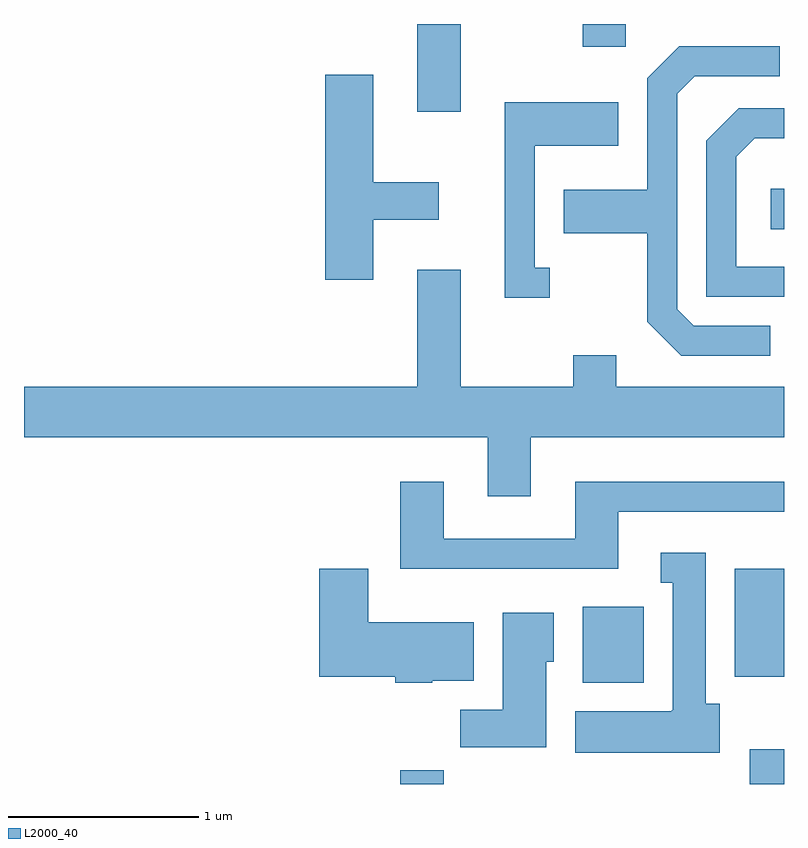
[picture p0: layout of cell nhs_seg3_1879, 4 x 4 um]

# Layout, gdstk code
import gdstk
lib = gdstk.Library(unit=1e-6, precision=1e-09)
def R(c, l, rs):  # rectangles x0, y0, x1, y1
    for r in rs: c.add(gdstk.rectangle(r[:2], r[2:], *l))
def P(c, l, *ps):  # polygons
    for p in ps: c.add(gdstk.Polygon(p, *l))
L2000_40 = (2000, 40)

nhs_seg3_1879 = lib.new_cell('nhs_seg3_1879')
R(nhs_seg3_1879, L2000_40, [(241.591,1201.892,241.819,1201.964), (243.431,1201.892,243.611,1202.074), (242.551,1202.426,242.874,1202.824), (243.351,1202.456,243.611,1203.024), (243.541,1204.811,243.611,1205.024), (241.681,1205.431,241.909,1205.892), (242.551,1205.771,242.779,1205.892)])
P(nhs_seg3_1879, L2000_40, [(243.538,1204.304),(243.137,1204.304),(243.049,1204.392),(243.049,1205.524),(243.142,1205.616),(243.588,1205.616),(243.588,1205.774),(243.059,1205.774),(242.891,1205.607),(242.891,1205.019),(242.451,1205.019),(242.451,1204.791),(242.891,1204.791),(242.891,1204.324),(243.069,1204.146),(243.538,1204.146)],
  [(241.449,1204.861),(241.794,1204.861),(241.794,1205.059),(241.449,1205.059),(241.449,1205.624),(241.196,1205.624),(241.196,1204.546),(241.449,1204.546)],
  [(242.378,1204.609),(242.299,1204.609),(242.299,1205.251),(242.739,1205.251),(242.739,1205.479),(242.141,1205.479),(242.141,1204.451),(242.378,1204.451)],
  [(243.611,1204.614),(243.359,1204.614),(243.359,1205.194),(243.457,1205.291),(243.611,1205.291),(243.611,1205.449),(243.374,1205.449),(243.201,1205.277),(243.201,1204.456),(243.611,1204.456)],
  [(242.279,1203.716),(243.611,1203.716),(243.611,1203.984),(242.729,1203.984),(242.729,1204.149),(242.501,1204.149),(242.501,1203.984),(241.909,1203.984),(241.909,1204.599),(241.681,1204.599),(241.681,1203.984),(239.611,1203.984),(239.611,1203.716),(242.051,1203.716),(242.051,1203.406),(242.279,1203.406)],
  [(242.739,1203.326),(243.611,1203.326),(243.611,1203.484),(242.511,1203.484),(242.511,1203.184),(241.819,1203.184),(241.819,1203.484),(241.591,1203.484),(241.591,1203.026),(242.739,1203.026)],
  [(243.274,1202.314),(243.199,1202.314),(243.199,1203.109),(242.963,1203.109),(242.963,1202.951),(243.026,1202.951),(243.026,1202.28),(243.02,1202.28),(243.02,1202.274),(242.511,1202.274),(242.511,1202.056),(243.274,1202.056)],
  [(241.76,1202.436),(241.979,1202.436),(241.979,1202.744),(241.424,1202.744),(241.424,1203.024),(241.166,1203.024),(241.166,1202.456),(241.566,1202.456),(241.566,1202.426),(241.76,1202.426)],
  [(242.359,1202.536),(242.399,1202.536),(242.399,1202.794),(242.131,1202.794),(242.131,1202.284),(241.906,1202.284),(241.906,1202.086),(242.359,1202.086)])

lib.write_gds('nhs_seg3_1879.gds')
